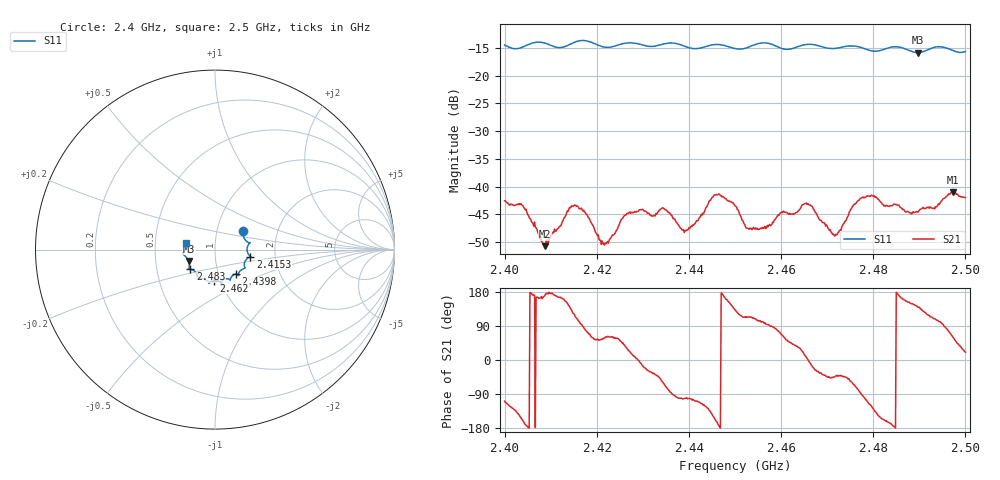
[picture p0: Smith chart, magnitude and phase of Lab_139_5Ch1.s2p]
# Hz S RI R 50
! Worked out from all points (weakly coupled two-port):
!   601 points, 2.4 GHz to 2.5 GHz, reference 50 ohm
!   highest |S21| = -40.97 dB at 2.4973 GHz (marker M1); lowest = -50.7 dB at 2.4088 GHz (marker M2)
!   lowest |S11| = -15.9 dB at 2.4897 GHz (marker M3), VSWR 1.38, Z = 36.9 - j4.82 ohm
!   |S11| at or under -10 dB: start of sweep to end of sweep
!   S12 and S22 are empty: the file has one direction only
!   S11 on the Smith chart (normalised r, x): 2.4 GHz: 1.33, +0.29; 2.4153 GHz: 1.48, -0.12; 2.4398 GHz: 1.21, -0.34; 2.462 GHz: 0.93, -0.33; 2.483 GHz: 0.74, -0.17; 2.5 GHz: 0.72, +0.06
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2.4e9  0.1551 0.1064  -0.0024 -0.00706  0 0  0 0
2.404e9  0.1746 0.0473  -0.00634 -0.00219  0 0  0 0
2.408833e9  0.1924 0.0347  -0.00288 0.000373  0 0  0 0
2.415333e9  0.1966 -0.0385  -0.00278 0.00614  0 0  0 0
2.416667e9  0.2022 -0.0428  -0.000453 0.00638  0 0  0 0
2.4215e9  0.171 -0.0587  0.0017 0.00256  0 0  0 0
2.426667e9  0.168 -0.102  0.00504 0.00274  0 0  0 0
2.433333e9  0.1312 -0.1335  0.00433 -0.00411  0 0  0 0
2.434667e9  0.1306 -0.1422  0.00275 -0.00566  0 0  0 0
2.439833e9  0.1154 -0.1366  -0.000852 -0.004  0 0  0 0
2.445833e9  0.0846 -0.1705  -0.00788 -0.00285  0 0  0 0
2.45e9  0.0646 -0.1626  -0.00452 0.00496  0 0  0 0
2.453167e9  0.0375 -0.178  -0.00162 0.00382  0 0  0 0
2.462e9  -0.00518 -0.1731  0.00394 0.00403  0 0  0 0
2.466667e9  -0.0343 -0.1875  0.00647 -0.00167  0 0  0 0
2.471667e9  -0.066 -0.1623  0.00258 -0.00249  0 0  0 0
2.477333e9  -0.0968 -0.1507  0.000168 -0.00786  0 0  0 0
2.483e9  -0.1374 -0.1096  -0.00643 -0.00202  0 0  0 0
2.483333e9  -0.1401 -0.1094  -0.00642 -0.00176  0 0  0 0
2.489667e9  -0.1475 -0.0636  -0.00446 0.00384  0 0  0 0
2.497333e9  -0.1676 -0.00306  0.00451 0.00772  0 0  0 0
2.5e9  -0.1598 0.039  0.00743 0.0028  0 0  0 0
